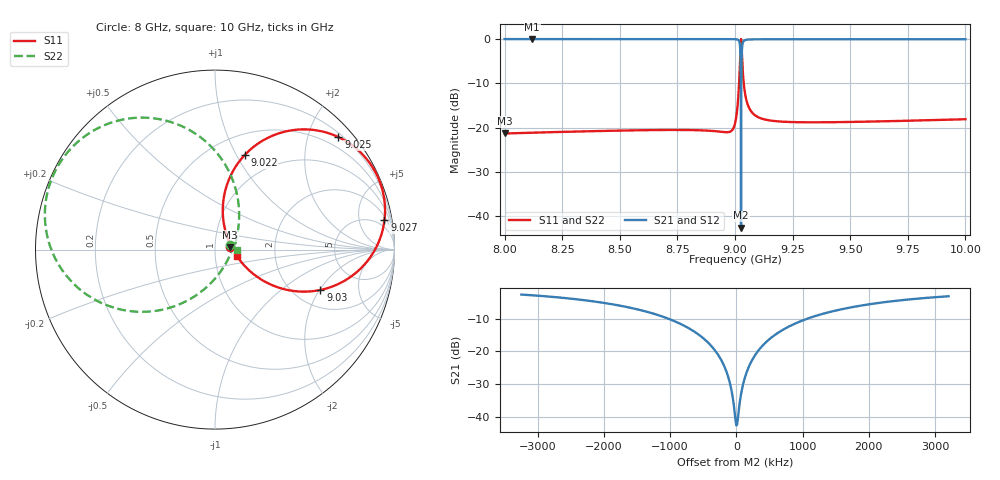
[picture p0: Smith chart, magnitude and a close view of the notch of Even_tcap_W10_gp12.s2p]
! Sonnet Data File
! From: emgraph Version : 16.52
! From Emgraph Data: Resonator2_extremeCap
! Data File Written: 10/09/2017 17:14:46
!< HDATE 10/09/2017 15:24:44
!< MDATE 10/09/2017 15:26:17
!< PARAMS
!< Pwid1 = 2000.0
!< Width = 10.0
!< Gap = 12.0
!< END PARAMS
# GHZ S MA R 51.80000
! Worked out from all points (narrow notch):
!   1595 points, 8 GHz to 10 GHz, reference 51.8 ohm
!   highest |S21| = -0.03 dB at 8.12 GHz (marker M1); lowest = -42.5 dB at 9.026 GHz (marker M2)
!   notch at M2: 42.5 dB deep, 544 kHz wide at half that depth
!   lowest |S11| = -21.3 dB at 8 GHz (marker M3), VSWR 1.19, Z = 61.4 + j1.61 ohm
!   |S11| at or under -10 dB: start of sweep to 9.018 GHz; 9.038 GHz to end of sweep
!   |S22| runs from -21.3 to -0.1 dB; largest |S21 - S12| = 0
!   S11 on the Smith chart (normalised r, x): 8 GHz: 1.19, +0.03; 9.022 GHz: 0.71, +1.08; 9.025 GHz: 0.27, +2.56; 9.027 GHz: 3, +11; 9.03 GHz: 2.74, -2.04; 10 GHz: 1.27, -0.08
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8  0.086 8.7  0.9963 -77.7  0.9963 -77.7  0.086 15.8
!< P1 F=8.0 Eeff=(6.44728641 -2.9726e-5) Z0=(51.8015453 1.19512e-4) R=0.0 C=0.0
!< P2 F=8.0 Eeff=(6.44728641 -2.9726e-5) Z0=(51.8015453 1.19512e-4) R=0.0 C=0.0
8.12  0.08782 7.8  0.9963 -79.0  0.9963 -79.0  0.0878 14.6
8.334  0.09077 6.1  0.9962 -81.2  0.9962 -81.2  0.09075 12.0
8.668  0.09412 4.3  0.9958 -84.7  0.9958 -84.7  0.09409 6.5
9  0.1113 56.9  0.9937 -94.4  0.9937 -94.4  0.1111 -65.7
9.01576  0.255 79.9  0.9664 -104.6  0.9664 -104.6  0.2545 -109.4
9.021781  0.5527 72.5  0.8305 -124.0  0.8305 -124.0  0.5519 -141.1
9.023731  0.7722 58.7  0.6284 -141.1  0.6284 -141.1  0.7711 -162.1
9.025032  0.9307 42.3  0.3487 -159.2  0.3487 -159.2  0.9294 177.0
9.025826  0.9867 29.7  0.1139 -170.6  0.1139 -170.6  0.9854 161.7
9.025997  0.9914 26.9  0.06014 -170.3  0.06014 -170.3  0.9901 158.3
9.026182  0.9933 23.8  0.007469 -99.7  0.007469 -99.7  0.9919 154.6
9.026501  0.9885 18.6  0.09899 -10.7  0.09899 -10.7  0.9872 148.3
9.027063  0.9583 9.8  0.2639 -17.7  0.2639 -17.7  0.957 137.8
9.028188  0.8476 -4.7  0.5221 -33.1  0.5221 -33.1  0.8465 119.7
9.030349  0.6289 -20.9  0.7745 -52.2  0.7745 -52.2  0.6282 97.1
9.034391  0.4062 -31.1  0.9129 -67.5  0.9129 -67.5  0.4058 76.3
9.044  0.2394 -32.0  0.9707 -78.2  0.9707 -78.2  0.2392 55.8
9.08  0.1427 -21.4  0.9897 -85.0  0.9897 -85.0  0.1427 31.3
9.334  0.1149 -10.8  0.9934 -90.3  0.9934 -90.3  0.115 10.2
9.668  0.1184 -12.4  0.993 -94.0  0.993 -94.0  0.1184 4.4
10  0.1245 -15.3  0.9922 -97.5  0.9922 -97.5  0.1245 0.2
